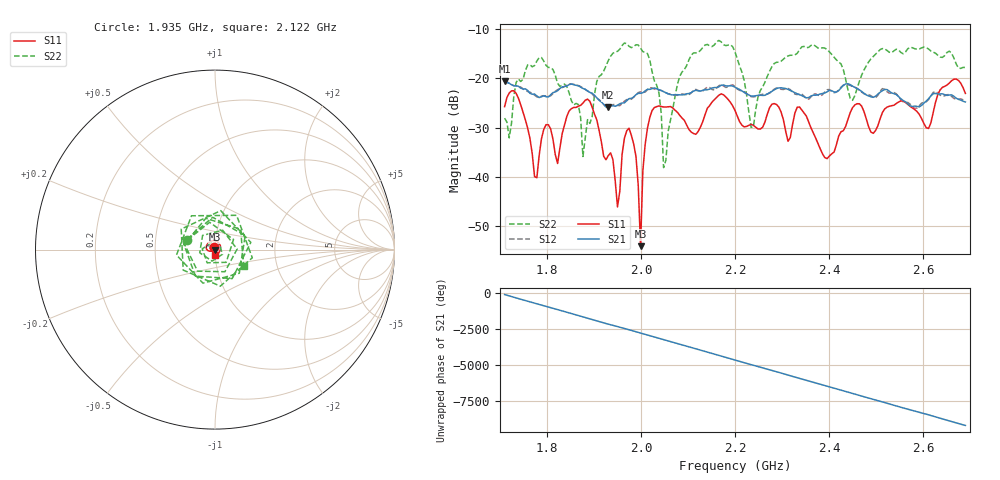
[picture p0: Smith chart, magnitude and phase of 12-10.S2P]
!Agilent Technologies,E5061B,MY49305579,A.02.22
!Date: Thu Aug 24 16:23:53 2017
!Data & Calibration Information:
!Freq	S11:SOLT2(ON)	S21:SOLT2(ON)	S12:SOLT2(ON)	S22:SOLT2(ON)
# Hz S dB R 50
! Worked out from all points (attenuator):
!   201 points, 1.71 GHz to 2.69 GHz, reference 50 ohm
!   highest |S21| = -20.59 dB at 1.71 GHz (marker M1); lowest = -25.9 dB at 1.931 GHz (marker M2)
!   lowest |S11| = -54.1 dB at 1.999 GHz (marker M3), VSWR 1.00, Z = 49.8 + j0.0203 ohm
!   |S11| at or under -10 dB: start of sweep to end of sweep
!   |S22| runs from -38.1 to -12.3 dB; largest |S21 - S12| = 0.0059
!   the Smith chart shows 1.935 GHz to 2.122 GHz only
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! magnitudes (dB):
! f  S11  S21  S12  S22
! 1.71 GHz  -25.7  -20.6  -20.5  -28.1
! 1.739 GHz  -24.0  -21.6  -21.6  -20.1
! 1.774 GHz  -40.0  -23.2  -23.4  -17.4
! 1.788 GHz  -32.2  -23.7  -23.6  -15.7
! 1.823 GHz  -37.3  -22.5  -22.3  -21.0
! 1.867 GHz  -25.6  -21.5  -21.4  -25.3
! 1.877 GHz  -25.0  -22.0  -21.9  -35.9
! 1.931 GHz  -35.7  -25.9  -26.0  -16.4
! 1.95 GHz  -46.1  -25.4  -25.5  -14.5
! 1.975 GHz  -30.1  -24.1  -24.3  -13.4
! 1.989 GHz  -35.8  -23.3  -23.3  -13.1
! 1.999 GHz  -54.1  -23.0  -22.7  -13.8
! 2.009 GHz  -33.5  -22.5  -22.8  -14.7
! 2.038 GHz  -25.6  -22.3  -22.4  -23.0
! 2.048 GHz  -25.8  -22.7  -22.7  -38.1
! 2.107 GHz  -30.9  -22.9  -22.9  -15.3
! 2.2 GHz  -26.5  -21.8  -21.6  -14.6
! 2.234 GHz  -29.3  -23.6  -23.7  -30.0
! 2.367 GHz  -31.1  -23.4  -23.2  -13.1
! 2.45 GHz  -25.9  -21.5  -21.6  -24.5
! 2.528 GHz  -25.6  -22.6  -23.0  -14.7
! 2.69 GHz  -23.0  -24.8  -24.6  -17.8
